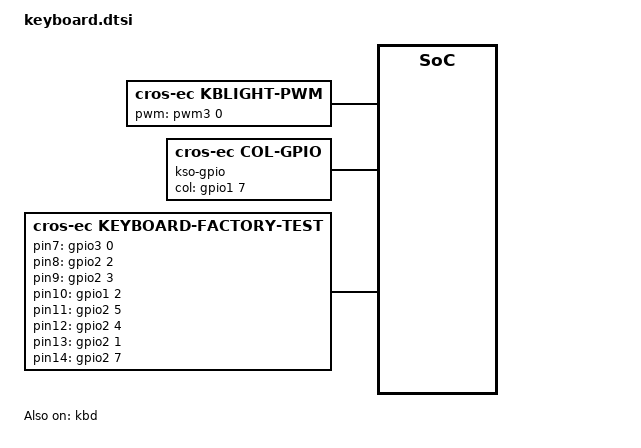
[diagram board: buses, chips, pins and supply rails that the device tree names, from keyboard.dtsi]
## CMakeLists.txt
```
# Copyright 2022 The ChromiumOS Authors
# Use of this source code is governed by a BSD-style license that can be
# found in the LICENSE file.

cmake_minimum_required(VERSION 3.20.5)
find_package(Zephyr REQUIRED HINTS "${ZEPHYR_BASE}")

zephyr_include_directories("${CMAKE_CURRENT_SOURCE_DIR}/include")
zephyr_library_sources_ifdef(CONFIG_AP_PWRSEQ "src/board_power.c")
zephyr_library_sources_ifdef(CONFIG_PLATFORM_EC_BATTERY "src/battery_present.c")
zephyr_library_sources_ifdef(CONFIG_BOARD_REX_USBC_CONFIG "src/usbc_config.c")
zephyr_library_sources_ifdef(CONFIG_PLATFORM_EC_USBC "src/usb_pd_policy.c")

if(DEFINED CONFIG_BOARD_REX)
	project(rex)
	add_subdirectory(rex)
elseif(DEFINED CONFIG_BOARD_SCREEBO)
	project(screebo)
	add_subdirectory(screebo)
elseif(DEFINED CONFIG_BOARD_KANIX)
	project(kanix)
	add_subdirectory(kanix)
elseif(DEFINED CONFIG_BOARD_KARIS)
	project(karis)
	add_subdirectory(karis)
elseif(DEFINED CONFIG_BOARD_INTEL_ISH_5_6_0)
	project(rex-ish)
	add_subdirectory(rex-ish)
endif()
```

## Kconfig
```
# Copyright 2022 The ChromiumOS Authors
# Use of this source code is governed by a BSD-style license that can be
# found in the LICENSE file.

config BOARD_REX
	bool "Google Rex Baseboard"
	select BOARD_HAS_INVALID_CHIP_DEVICE_ID_WORKAROUND
	help
	  Build Google Rex reference board.  The board uses Nuvoton
	  NPCX9 chip as the EC.

config BOARD_SCREEBO
	bool "Google Screebo Board"
	select BOARD_HAS_INVALID_CHIP_DEVICE_ID_WORKAROUND
	help
	  Build Google Screebo variant board. The board uses Nuvoton
	  NPCX9 chip as the EC.

config BOARD_KANIX
	bool "Google Kanix Board"
	select BOARD_HAS_INVALID_CHIP_DEVICE_ID_WORKAROUND
	help
	  Build Google Kanix variant board. The board uses Nuvoton
	  NPCX9 chip as the EC.

config BOARD_KARIS
	bool "Google Karis Board"
	select BOARD_HAS_INVALID_CHIP_DEVICE_ID_WORKAROUND
	help
	  Build Google Karis variant board. The board uses Nuvoton
	  NPCX9 chip as the EC.

config BOARD_HAS_INVALID_CHIP_DEVICE_ID_WORKAROUND
	bool
	help
	  Workaround the board of the Rex family which uses the sample chip
	  with the incorrect device ID.

config BOARD_REX_USBC_CONFIG
	bool "Rex board usbc configuration"
	default y
	help
	  Include baseboard rex usbc_config.c into binary. The usbc
	  usbc configuration is that TCPC C0 is NCT38XX and BC1.2
	  exists. Additionally, IOEX pins are defined.

module = REX
module-str = Rex board-specific code
source "subsys/logging/Kconfig.template.log_config"

source "Kconfig.zephyr"
```

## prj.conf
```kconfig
# Copyright 2022 The ChromiumOS Authors
# Use of this source code is governed by a BSD-style license that can be
# found in the LICENSE file.

CONFIG_PLATFORM_EC=y
CONFIG_CROS_EC=y
CONFIG_SHIMMED_TASKS=y
CONFIG_SYSCON=y
# Enable during development
CONFIG_LTO=n
CONFIG_PLATFORM_EC_SYSTEM_UNLOCKED=y
CONFIG_PLATFORM_EC_BOARD_RESET_AFTER_POWER_ON=y

# Shell Commands
CONFIG_SHELL_HELP=y
CONFIG_SHELL_HISTORY=y
CONFIG_SHELL_TAB=y
CONFIG_SHELL_TAB_AUTOCOMPLETION=y
CONFIG_KERNEL_SHELL=y

# Disable default features we don't want in a minimal example.
CONFIG_PLATFORM_EC_BACKLIGHT_LID=y
CONFIG_PLATFORM_EC_SWITCH=y
CONFIG_PLATFORM_EC_VBOOT_EFS2=y

# Application processor; communicates with EC via eSPI
CONFIG_AP=y
CONFIG_ESPI=y
CONFIG_PLATFORM_EC_HOST_INTERFACE_ESPI_VW_SLP_S3=y
CONFIG_PLATFORM_EC_HOST_INTERFACE_ESPI_VW_SLP_S4=y
CONFIG_PLATFORM_EC_HOST_INTERFACE_ESPI_VW_SLP_S5=y
CONFIG_PLATFORM_EC_HOSTCMD=y
# Disabling this until temp sensor support is in
CONFIG_PLATFORM_EC_THROTTLE_AP=n
CONFIG_PLATFORM_EC_PORT80=y

# Power Sequecing
CONFIG_AP_X86_INTEL_MTL=y
CONFIG_X86_NON_DSX_PWRSEQ_MTL=y
CONFIG_X86_NON_DSX_PWRSEQ_HOST_CMD=y
# TODO (b/240434243): This may be needed, but using eSPI VW for now
CONFIG_PLATFORM_EC_POWERSEQ_SLP_S3_L_OVERRIDE=n
CONFIG_PLATFORM_EC_POWERSEQ_PP5000_CONTROL=n

# Zephyr Inbuilt AP Power Sequencing Config
CONFIG_AP_PWRSEQ=y
CONFIG_X86_NON_DSX_PWRSEQ_CONSOLE=y
CONFIG_AP_PWRSEQ_S0IX=y

# I2C
CONFIG_PLATFORM_EC_HOSTCMD_I2C_CONTROL=y

# Temperature sensors
CONFIG_SENSOR=y
CONFIG_PLATFORM_EC_TEMP_SENSOR_POWER=y

# CBI EEPROM support
CONFIG_EEPROM=y
CONFIG_PLATFORM_EC_BOARD_VERSION_CBI=y
CONFIG_PLATFORM_EC_BYPASS_CBI_EEPROM_WP_CHECK=y

# LED
CONFIG_PLATFORM_EC_LED_DT=y

# Battery
CONFIG_PLATFORM_EC_BATTERY_SMART=y
CONFIG_PLATFORM_EC_BATTERY_FUEL_GAUGE=y
CONFIG_PLATFORM_EC_BATTERY_CUT_OFF=y
CONFIG_PLATFORM_EC_BATTERY_PRESENT_GPIO=y
CONFIG_PLATFORM_EC_BATTERY_REVIVE_DISCONNECT=y

# Charger
CONFIG_PLATFORM_EC_CHARGER_DISCHARGE_ON_AC=y
CONFIG_PLATFORM_EC_CHARGER_DEFAULT_CURRENT_LIMIT=512
CONFIG_PLATFORM_EC_CHARGER_ISL9241=y
CONFIG_PLATFORM_EC_CHARGER_SENSE_RESISTOR=5
CONFIG_PLATFORM_EC_CHARGER_SENSE_RESISTOR_AC=10
CONFIG_PLATFORM_EC_CHARGER_MIN_POWER_MW_FOR_POWER_ON=30000
CONFIG_PLATFORM_EC_CHARGER_MIN_POWER_MW_FOR_POWER_ON_WITH_BATT=15000
CONFIG_PLATFORM_EC_CHARGER_MIN_INPUT_CURRENT_LIMIT=512

# USBC
CONFIG_PLATFORM_EC_USBC_PPC=y
CONFIG_PLATFORM_EC_USBC_PPC_NX20P3483=y
CONFIG_PLATFORM_EC_USBC_PPC_SYV682X=y
CONFIG_PLATFORM_EC_USBC_PPC_SYV682C=y
CONFIG_PLATFORM_EC_USBC_PPC_SYV682X_SMART_DISCHARGE=y
CONFIG_PLATFORM_EC_USBC_RETIMER_INTEL_HB=y
CONFIG_PLATFORM_EC_USBC_VCONN=y

CONFIG_PLATFORM_EC_USB_DRP_ACC_TRYSRC=y
CONFIG_PLATFORM_EC_USB_PD_VBUS_DETECT_TCPC=y
CONFIG_PLATFORM_EC_USB_PD_DISCHARGE_PPC=y
CONFIG_PLATFORM_EC_USB_PD_FRS=y
CONFIG_PLATFORM_EC_USB_PD_FRS_PPC=y
CONFIG_PLATFORM_EC_USB_PD_REV30=y
CONFIG_PLATFORM_EC_USB_PD_TCPC_LOW_POWER=y
CONFIG_PLATFORM_EC_USB_PD_TCPM_TCPCI=y
CONFIG_PLATFORM_EC_USB_PD_TCPM_NCT38XX=y
CONFIG_PLATFORM_EC_USB_PD_TCPM_PS8815=y
CONFIG_PLATFORM_EC_USB_PD_TRY_SRC=y
CONFIG_PLATFORM_EC_USB_PD_DUAL_ROLE_AUTO_TOGGLE=y
CONFIG_PLATFORM_EC_USB_PD_TBT_COMPAT_MODE=y
CONFIG_PLATFORM_EC_USB_PD_USB32_DRD=y
CONFIG_PLATFORM_EC_USB_PD_USB4=y
CONFIG_PLATFORM_EC_USB_PD_VBUS_MEASURE_CHARGER=y
CONFIG_PLATFORM_EC_USB_PID=0x504D

#USB Mux
CONFIG_PLATFORM_EC_USB_MUX_VIRTUAL=y
CONFIG_PLATFORM_EC_USB_MUX_TASK=y

# External power
CONFIG_PLATFORM_EC_EXTPOWER_GPIO=y

# Standard shimmed features
CONFIG_PLATFORM_EC_POWER_BUTTON=y
CONFIG_PLATFORM_EC_LID_SWITCH=y

# Keyboard support
CONFIG_PLATFORM_EC_KEYBOARD_PROTOCOL_8042=y
# Column 2 is driven through the GSC, which inverts the signal going through it
CONFIG_PLATFORM_EC_KEYBOARD_COL2_INVERTED=y

# MKBP event
CONFIG_PLATFORM_EC_MKBP_EVENT=y
CONFIG_PLATFORM_EC_MKBP_INPUT_DEVICES=y
CONFIG_PLATFORM_EC_MKBP_USE_GPIO_AND_HOST_EVENT=y

# Sensors console command
CONFIG_PLATFORM_EC_CONSOLE_CMD_ACCELS=y
CONFIG_PLATFORM_EC_CONSOLE_CMD_ACCEL_INFO=y
CONFIG_PLATFORM_EC_CONSOLE_CMD_I2C_SPEED=y

# Sensors
CONFIG_SENSOR=y
CONFIG_SENSOR_SHELL=n
CONFIG_PLATFORM_EC_MOTIONSENSE=y
CONFIG_PLATFORM_EC_ACCEL_FIFO=y
CONFIG_PLATFORM_EC_DYNAMIC_MOTION_SENSOR_COUNT=y
CONFIG_PLATFORM_EC_GMR_TABLET_MODE=y
CONFIG_PLATFORM_EC_LID_ANGLE=y
CONFIG_PLATFORM_EC_LID_ANGLE_UPDATE=y
CONFIG_PLATFORM_EC_SENSOR_TIGHT_TIMESTAMPS=y
CONFIG_PLATFORM_EC_TABLET_MODE=y
CONFIG_PLATFORM_EC_TABLET_MODE_SWITCH=y

# Sensor Drivers
CONFIG_PLATFORM_EC_ACCELGYRO_LSM6DSO=y
CONFIG_PLATFORM_EC_ACCEL_LIS2DW12=y
CONFIG_PLATFORM_EC_ALS_TCS3400=y
```

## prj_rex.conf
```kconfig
# Copyright 2022 The ChromiumOS Authors
# Use of this source code is governed by a BSD-style license that can be
# found in the LICENSE file.

# Rex reference-board-specific Kconfig settings.
CONFIG_BOARD_REX=y
```

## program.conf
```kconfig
# Copyright 2022 The ChromiumOS Authors
# Use of this source code is governed by a BSD-style license that can be
# found in the LICENSE file.

CONFIG_PLATFORM_EC=y
CONFIG_CROS_EC=y
CONFIG_SYSCON=y

# Shell Commands
CONFIG_SHELL_HELP=n
CONFIG_SHELL_HISTORY=y
CONFIG_SHELL_TAB=y
CONFIG_SHELL_TAB_AUTOCOMPLETION=y
CONFIG_KERNEL_SHELL=y

# Disable default features we don't want in a minimal example.
CONFIG_PLATFORM_EC_BACKLIGHT_LID=y
CONFIG_PLATFORM_EC_SWITCH=y
CONFIG_PLATFORM_EC_VBOOT_EFS2=y

# Application processor; communicates with EC via eSPI
CONFIG_AP=y
CONFIG_ESPI=y
CONFIG_PLATFORM_EC_HOST_INTERFACE_ESPI_VW_SLP_S4=y
CONFIG_PLATFORM_EC_HOST_INTERFACE_ESPI_VW_SLP_S5=y
CONFIG_PLATFORM_EC_HOSTCMD=y
CONFIG_HCDEBUG_OFF=y
# Disabling this until temp sensor support is in
CONFIG_PLATFORM_EC_THROTTLE_AP=n
CONFIG_PLATFORM_EC_PORT80=y

# Power Sequecing
CONFIG_AP_X86_INTEL_MTL=y
CONFIG_X86_NON_DSX_PWRSEQ_MTL=y
CONFIG_X86_NON_DSX_PWRSEQ_HOST_CMD=y
# TODO (b/240434243): This may be needed, but using eSPI VW for now
CONFIG_PLATFORM_EC_POWERSEQ_SLP_S3_L_OVERRIDE=n
CONFIG_PLATFORM_EC_POWERSEQ_PP5000_CONTROL=n

# Zephyr Inbuilt AP Power Sequencing Config
CONFIG_X86_NON_DSX_PWRSEQ_CONSOLE=y
CONFIG_AP_PWRSEQ_S0IX=y

# Disable driver mode because Rex was brought up without it and changing
# would be risky.
CONFIG_AP_PWRSEQ_DRIVER=n

# I2C
CONFIG_PLATFORM_EC_HOSTCMD_I2C_CONTROL=y

# Temperature sensors
CONFIG_PLATFORM_EC_TEMP_SENSOR_POWER=y

# Battery
CONFIG_PLATFORM_EC_BATTERY_FUEL_GAUGE=y
CONFIG_PLATFORM_EC_BATTERY_CUT_OFF=y
CONFIG_PLATFORM_EC_BATTERY_REVIVE_DISCONNECT=y
CONFIG_PLATFORM_EC_BATTERY_PRESENT_CUSTOM=y
CONFIG_PLATFORM_EC_BATTERY_HW_PRESENT_CUSTOM=y

# Charger
CONFIG_PLATFORM_EC_CHARGER_DISCHARGE_ON_AC=y
CONFIG_PLATFORM_EC_CHARGER_DEFAULT_CURRENT_LIMIT=512
CONFIG_PLATFORM_EC_CHARGER_ISL9241=y
CONFIG_PLATFORM_EC_CHARGER_SENSE_RESISTOR=5
CONFIG_PLATFORM_EC_CHARGER_SENSE_RESISTOR_AC=10
CONFIG_PLATFORM_EC_CHARGER_MIN_POWER_MW_FOR_POWER_ON=30000
CONFIG_PLATFORM_EC_CHARGER_MIN_POWER_MW_FOR_POWER_ON_WITH_BATT=15000

# USBC
CONFIG_PLATFORM_EC_USBC_PPC=y
CONFIG_PLATFORM_EC_USBC_PPC_SYV682C=y
CONFIG_PLATFORM_EC_USBC_VCONN=y

CONFIG_PLATFORM_EC_USB_DRP_ACC_TRYSRC=y
CONFIG_PLATFORM_EC_USB_PD_VBUS_DETECT_TCPC=y
CONFIG_PLATFORM_EC_USB_PD_DISCHARGE_PPC=y
CONFIG_PLATFORM_EC_USB_PD_FRS=y
CONFIG_PLATFORM_EC_USB_PD_FRS_PPC=y
CONFIG_PLATFORM_EC_USB_PD_LOGGING=y
CONFIG_PLATFORM_EC_USB_PD_REV30=y
CONFIG_PLATFORM_EC_USB_PD_TCPC_LOW_POWER=y
CONFIG_PLATFORM_EC_USB_PD_TCPM_PS8815=y
CONFIG_PLATFORM_EC_USB_PD_TRY_SRC=y
CONFIG_PLATFORM_EC_USB_PD_DUAL_ROLE_AUTO_TOGGLE=y
CONFIG_PLATFORM_EC_USB_PD_TBT_COMPAT_MODE=y
CONFIG_PLATFORM_EC_USB_PD_USB32_DRD=y
CONFIG_PLATFORM_EC_USB_PD_USB4=y
CONFIG_PLATFORM_EC_USB_PD_REQUIRE_AP_MODE_ENTRY=y
CONFIG_PLATFORM_EC_USB_PD_DATA_RESET_MSG=y
CONFIG_PLATFORM_EC_USB_PD_VBUS_MEASURE_CHARGER=y
CONFIG_PLATFORM_EC_USB_PID=0x504D

# USBC DP2.1
CONFIG_PLATFORM_EC_USB_PD_DP21_MODE=y

# USB Mux
CONFIG_PLATFORM_EC_USB_MUX_TASK=y

# External power
CONFIG_PLATFORM_EC_EXTPOWER_GPIO=y

# Standard shimmed features
CONFIG_PLATFORM_EC_POWER_BUTTON=y
CONFIG_PLATFORM_EC_LID_SWITCH=y

# Keyboard support
CONFIG_PLATFORM_EC_KEYBOARD_PROTOCOL_8042=y
# Column 2 is driven through the GSC, which inverts the signal going through it
CONFIG_PLATFORM_EC_KEYBOARD_COL2_INVERTED=y
CONFIG_PLATFORM_EC_VOLUME_BUTTONS=y

# MKBP event
CONFIG_PLATFORM_EC_MKBP_EVENT=y
CONFIG_PLATFORM_EC_MKBP_INPUT_DEVICES=y
CONFIG_PLATFORM_EC_MKBP_USE_GPIO_AND_HOST_EVENT=y

# Sensors console command
CONFIG_PLATFORM_EC_CONSOLE_CMD_ACCELS=y
CONFIG_PLATFORM_EC_CONSOLE_CMD_ACCEL_INFO=y
CONFIG_PLATFORM_EC_CONSOLE_CMD_I2C_SPEED=y

# Sensors
CONFIG_PLATFORM_EC_ACCEL_FIFO=y
CONFIG_PLATFORM_EC_DYNAMIC_MOTION_SENSOR_COUNT=y
CONFIG_PLATFORM_EC_GMR_TABLET_MODE=y
CONFIG_PLATFORM_EC_LID_ANGLE=y
CONFIG_PLATFORM_EC_LID_ANGLE_UPDATE=y
CONFIG_PLATFORM_EC_SENSOR_TIGHT_TIMESTAMPS=y
CONFIG_PLATFORM_EC_TABLET_MODE=y
CONFIG_PLATFORM_EC_TABLET_MODE_SWITCH=y

# Sensor Drivers
CONFIG_PLATFORM_EC_ACCEL_LIS2DW12=y

# System Boot Time
CONFIG_SYSTEM_BOOT_TIME_LOGGING=y

# Limit I2C pass-through to allowed busses/devices
CONFIG_PLATFORM_EC_I2C_PASSTHRU_RESTRICTED=y

# CME
CONFIG_PLATFORM_EC_CME_VERSION=1
```

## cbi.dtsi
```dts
/* Copyright 2022 The ChromiumOS Authors
 * Use of this source code is governed by a BSD-style license that can be
 * found in the LICENSE file.
 */

/ {
	rex-fw-config {
		compatible = "cros-ec,cbi-fw-config";

		/*
		 * FW_CONFIG field to enable fan or not.
		 */
		fan {
			enum-name = "FW_FAN";
			start = <0>;
			size = <1>;

			no-fan {
				compatible = "cros-ec,cbi-fw-config-value";
				enum-name = "FW_FAN_NOT_PRESENT";
				value = <0>;
			};
			fan-present {
				compatible = "cros-ec,cbi-fw-config-value";
				enum-name = "FW_FAN_PRESENT";
				value = <1>;
				/*
				 * Set as default so that unprovisioned
				 * configs will run the fan regardless.
				 */
				default;
			};
		};
	};
};
```

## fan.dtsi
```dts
/* Copyright 2022 The ChromiumOS Authors
 * Use of this source code is governed by a BSD-style license that can be
 * found in the LICENSE file.
 */

/ {
	fans {
		compatible = "cros-ec,fans";

		fan0: fan_0 {
			pwms = <&pwm5 0 PWM_KHZ(1) PWM_POLARITY_NORMAL>;
			rpm_min = <2200>;
			rpm_start = <2200>;
			rpm_max = <4200>;
			tach = <&tach1>;
			enable_gpio = <&gpio_en_pp5000_fan>;
		};
	};
};

&pwm5_gpb7 {
	drive-open-drain;
};
```

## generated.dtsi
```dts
/* Copyright 2024 The ChromiumOS Authors
 * Use of this source code is governed by a BSD-style license that can be
 * found in the LICENSE file.
 *
 * This file is auto-generated - do not edit!
 */

/ {

	named-adc-channels {
		compatible = "named-adc-channels";

		adc_temp_sensor_1: temp_sensor_1 {
			enum-name = "ADC_TEMP_SENSOR_1_DDR_SOC";
			io-channels = <&adc0 0>;
		};
		adc_temp_sensor_2: temp_sensor_2 {
			enum-name = "ADC_TEMP_SENSOR_2_AMBIENT";
			io-channels = <&adc0 1>;
		};
		adc_temp_sensor_3: temp_sensor_3 {
			enum-name = "ADC_TEMP_SENSOR_3_CHARGER";
			io-channels = <&adc0 8>;
		};
		adc_temp_sensor_4: temp_sensor_4 {
			enum-name = "ADC_TEMP_SENSOR_4_WWAN";
			io-channels = <&adc0 7>;
		};
	};

	named-gpios {
		compatible = "named-gpios";

		gpio_acok_od: acok_od {
			gpios = <&gpio0 0 (GPIO_INPUT)>;
			enum-name = "GPIO_AC_PRESENT";
		};
		gpio_ccd_mode_odl: ccd_mode_odl {
			gpios = <&gpioe 5 (GPIO_INPUT)>;
			enum-name = "GPIO_CCD_MODE_ODL";
		};
		gpio_cpu_c10_gate_l: cpu_c10_gate_l {
			gpios = <&gpioa 7 (GPIO_INPUT)>;
		};
		gpio_ec_accel_int_r_l: ec_accel_int_r_l {
			gpios = <&gpio8 1 (GPIO_INPUT)>;
		};
		gpio_ec_als_rgb_int_r_l: ec_als_rgb_int_r_l {
			gpios = <&gpiod 4 (GPIO_INPUT | GPIO_PULL_UP)>;
		};
		gpio_ec_batt_pres_odl: ec_batt_pres_odl {
			gpios = <&gpioa 3 (GPIO_INPUT)>;
			enum-name = "GPIO_BATT_PRES_ODL";
		};
		gpio_ec_cbi_wp: ec_cbi_wp {
			gpios = <&gpio7 3 (GPIO_OUTPUT | GPIO_ACTIVE_HIGH)>;
		};
		gpio_ec_edp_bl_en: ec_edp_bl_en {
			gpios = <&gpiod 3 (GPIO_OUTPUT | GPIO_ACTIVE_HIGH)>;
			enum-name = "GPIO_ENABLE_BACKLIGHT";
		};
		gpio_ec_gsc_packet_mode: ec_gsc_packet_mode {
			gpios = <&gpio7 5 (GPIO_OUTPUT | GPIO_ACTIVE_HIGH)>;
			enum-name = "GPIO_PACKET_MODE_EN";
		};
		gpio_ec_imu_int_r_l: ec_imu_int_r_l {
			gpios = <&gpio5 6 (GPIO_INPUT | GPIO_PULL_UP)>;
		};
		gpio_ec_kb_bl_en_l: ec_kb_bl_en_l {
			gpios = <&gpio8 6 (GPIO_OUTPUT | GPIO_ACTIVE_HIGH)>;
		};
		gpio_ec_kso_02_inv: ec_kso_02_inv {
			gpios = <&gpio1 7 (GPIO_OUTPUT | GPIO_ACTIVE_HIGH)>;
		};
		gpio_ec_mech_pwr_btn_l: ec_mech_pwr_btn_l {
			gpios = <&gpio0 2 (GPIO_INPUT)>;
			enum-name = "GPIO_POWER_BUTTON_L";
		};
		gpio_ec_prochot_in_l: ec_prochot_in_l {
			gpios = <&gpiof 0 (GPIO_INPUT)>;
		};
		gpio_ec_prochot_odl: ec_prochot_odl {
			gpios = <&gpio6 3 (GPIO_OUTPUT | GPIO_OPEN_DRAIN | GPIO_ACTIVE_HIGH | GPIO_OUTPUT_INIT_HIGH)>;
		};
		gpio_ec_rst_r_odl: ec_rst_r_odl {
			gpios = <&gpio7 7 (GPIO_INPUT)>;
		};
		gpio_ec_soc_int_odl: ec_soc_int_odl {
			gpios = <&gpio7 0 (GPIO_OUTPUT | GPIO_OPEN_DRAIN | GPIO_ACTIVE_HIGH | GPIO_OUTPUT_INIT_LOW)>;
			enum-name = "GPIO_EC_INT_L";
		};
		gpio_ec_soc_pwr_btn_odl: ec_soc_pwr_btn_odl {
			gpios = <&gpioc 1 (GPIO_OUTPUT | GPIO_OPEN_DRAIN | GPIO_ACTIVE_HIGH | GPIO_OUTPUT_INIT_LOW)>;
			enum-name = "GPIO_PCH_PWRBTN_L";
		};
		gpio_ec_soc_rec_switch_r_odl: ec_soc_rec_switch_r_odl {
			gpios = <&gpio9 4 (GPIO_OUTPUT | GPIO_OPEN_DRAIN | GPIO_ACTIVE_LOW | GPIO_OUTPUT_INIT_HIGH)>;
		};
		gpio_ec_soc_rsmrst_l_r: ec_soc_rsmrst_l_r {
			gpios = <&gpioa 6 (GPIO_OUTPUT | GPIO_ACTIVE_HIGH)>;
		};
		gpio_ec_soc_rtcrst: ec_soc_rtcrst {
			gpios = <&gpio7 6 (GPIO_OUTPUT | GPIO_OPEN_DRAIN | GPIO_ACTIVE_HIGH | GPIO_OUTPUT_INIT_HIGH)>;
		};
		gpio_ec_soc_wake_r_odl: ec_soc_wake_r_odl {
			gpios = <&gpioc 0 (GPIO_OUTPUT | GPIO_OPEN_DRAIN | GPIO_ACTIVE_HIGH | GPIO_OUTPUT_INIT_LOW)>;
		};
		gpio_ec_spare_gpio01: ec_spare_gpio01 {
			gpios = <&gpio0 1 (GPIO_INPUT | GPIO_PULL_UP)>;
		};
		gpio_ec_spare_gpio42: ec_spare_gpio42 {
			gpios = <&gpio4 2 (GPIO_OUTPUT | GPIO_ACTIVE_HIGH)>;
		};
		gpio_ec_spare_gpio66: ec_spare_gpio66 {
			gpios = <&gpio6 6 (GPIO_OUTPUT | GPIO_ACTIVE_HIGH)>;
		};
		gpio_ec_spare_gpioa4: ec_spare_gpioa4 {
			gpios = <&gpioa 4 (GPIO_OUTPUT | GPIO_ACTIVE_HIGH)>;
		};
		gpio_ec_spare_gpiob1: ec_spare_gpiob1 {
			gpios = <&gpiob 1 (GPIO_OUTPUT | GPIO_ACTIVE_HIGH)>;
		};
		gpio_ec_spare_gpioc7: ec_spare_gpioc7 {
			gpios = <&gpioc 7 (GPIO_OUTPUT | GPIO_ACTIVE_HIGH)>;
		};
		gpio_ec_spare_gpo32: ec_spare_gpo32 {
			gpios = <&gpio3 2 (GPIO_OUTPUT | GPIO_ACTIVE_HIGH)>;
		};
		gpio_ec_spare_gpo35: ec_spare_gpo35 {
			gpios = <&gpio3 5 (GPIO_OUTPUT | GPIO_ACTIVE_HIGH)>;
		};
		gpio_ec_voldn_btn_odl: ec_voldn_btn_odl {
			gpios = <&gpio9 3 (GPIO_INPUT | GPIO_PULL_UP)>;
			enum-name = "GPIO_VOLUME_DOWN_L";
		};
		gpio_ec_volup_btn_odl: ec_volup_btn_odl {
			gpios = <&gpio9 7 (GPIO_INPUT | GPIO_PULL_UP)>;
			enum-name = "GPIO_VOLUME_UP_L";
		};
		gpio_ec_wp_l: ec_wp_l {
			gpios = <&gpioa 1 (GPIO_INPUT | GPIO_ACTIVE_LOW)>;
		};
		gpio_en_pp5000_fan: en_pp5000_fan {
			gpios = <&gpio6 1 (GPIO_OUTPUT | GPIO_ACTIVE_HIGH)>;
		};
		gpio_en_pp5000_usba_r: en_pp5000_usba_r {
			gpios = <&gpiod 7 (GPIO_OUTPUT | GPIO_ACTIVE_HIGH)>;
		};
		gpio_en_s5_rails: en_s5_rails {
			gpios = <&gpiob 6 (GPIO_OUTPUT | GPIO_OPEN_DRAIN | GPIO_ACTIVE_HIGH | GPIO_OUTPUT_INIT_HIGH)>;
			enum-name = "GPIO_TEMP_SENSOR_POWER";
		};
		gpio_en_z1_rails: en_z1_rails {
			gpios = <&gpio8 5 (GPIO_OUTPUT | GPIO_ACTIVE_HIGH)>;
		};
		gpio_imvp92_vrrdy_od: imvp92_vrrdy_od {
			gpios = <&gpio4 3 (GPIO_INPUT)>;
		};
		gpio_led_1_l: led_1_l {
			gpios = <&gpioc 4 (GPIO_OUTPUT | GPIO_ACTIVE_HIGH)>;
		};
		gpio_led_2_l: led_2_l {
			gpios = <&gpioc 3 (GPIO_OUTPUT | GPIO_ACTIVE_HIGH)>;
		};
		gpio_led_3_l: led_3_l {
			gpios = <&gpioc 2 (GPIO_OUTPUT | GPIO_ACTIVE_HIGH)>;
		};
		gpio_led_4_l: led_4_l {
			gpios = <&gpio6 0 (GPIO_OUTPUT | GPIO_ACTIVE_HIGH)>;
		};
		gpio_lid_open: lid_open {
			gpios = <&gpiod 2 (GPIO_INPUT)>;
			enum-name = "GPIO_LID_OPEN";
		};
		gpio_seq_ec_all_sys_pg_od: seq_ec_all_sys_pg_od {
			gpios = <&gpiof 4 (GPIO_INPUT)>;
		};
		gpio_seq_ec_rsmrst_odl: seq_ec_rsmrst_odl {
			gpios = <&gpioe 2 (GPIO_INPUT)>;
		};
		gpio_slp_s3_ls_l: slp_s3_ls_l {
			gpios = <&gpio4 1 (GPIO_INPUT)>;
		};
		gpio_sochot_odl: sochot_odl {
			gpios = <&gpio9 6 (GPIO_INPUT)>;
		};
		gpio_soc_ec_ish_nb_mode: soc_ec_ish_nb_mode {
			gpios = <&gpioa 2 (GPIO_INPUT | GPIO_ACTIVE_LOW)>;
		};
		gpio_soc_pwrok_r: soc_pwrok_r {
			gpios = <&gpioa 5 (GPIO_OUTPUT | GPIO_ACTIVE_HIGH)>;
		};
		gpio_sys_pwrok: sys_pwrok {
			gpios = <&gpiob 0 (GPIO_OUTPUT | GPIO_ACTIVE_HIGH)>;
		};
		gpio_sys_rst_odl: sys_rst_odl {
			gpios = <&gpioc 5 (GPIO_INPUT)>;
		};
		gpio_sys_slp_s0ix_3v3_l: sys_slp_s0ix_3v3_l {
			gpios = <&gpiod 5 (GPIO_INPUT)>;
		};
		gpio_tablet_mode_l: tablet_mode_l {
			gpios = <&gpio9 5 (GPIO_INPUT | GPIO_PULL_UP)>;
			enum-name = "GPIO_TABLET_MODE_L";
		};
		gpio_usb_c0_bc12_int_odl: usb_c0_bc12_int_odl {
			gpios = <&gpioc 6 (GPIO_INPUT)>;
			enum-name = "GPIO_USB_C0_BC12_INT_ODL";
		};
		gpio_usb_c0_ppc_int_odl: usb_c0_ppc_int_odl {
			gpios = <&gpio6 2 (GPIO_INPUT)>;
			enum-name = "GPIO_USB_C0_PPC_INT_ODL";
		};
		gpio_usb_c0_rt_3p3_sx_en: usb_c0_rt_3p3_sx_en {
			gpios = <&gpio0 3 (GPIO_OUTPUT | GPIO_OPEN_DRAIN | GPIO_ACTIVE_HIGH | GPIO_OUTPUT_INIT_LOW)>;
		};
		gpio_usb_c0_rt_int_odl: usb_c0_rt_int_odl {
			gpios = <&gpioa 0 (GPIO_INPUT)>;
		};
		gpio_usb_c0_tcpc_int_odl: usb_c0_tcpc_int_odl {
			gpios = <&gpioe 0 (GPIO_INPUT | GPIO_ACTIVE_LOW)>;
			enum-name = "GPIO_USB_C0_TCPC_INT_ODL";
		};
		gpio_usb_c0_tcpc_rst_odl: usb_c0_tcpc_rst_odl {
			gpios = <&gpio6 7 (GPIO_OUTPUT | GPIO_OPEN_DRAIN | GPIO_ACTIVE_HIGH | GPIO_OUTPUT_INIT_HIGH)>;
		};
		gpio_usb_c1_bc12_int_odl: usb_c1_bc12_int_odl {
			gpios = <&gpio5 0 (GPIO_INPUT)>;
			enum-name = "GPIO_USB_C1_BC12_INT_ODL";
		};
		gpio_usb_c1_frs_en: usb_c1_frs_en {
			gpios = <&gpio8 3 (GPIO_OUTPUT | GPIO_OPEN_DRAIN | GPIO_ACTIVE_HIGH | GPIO_OUTPUT_INIT_HIGH)>;
		};
		gpio_usb_c1_ppc_int_odl: usb_c1_ppc_int_odl {
			gpios = <&gpiof 5 (GPIO_INPUT)>;
			enum-name = "GPIO_USB_C1_PPC_INT_ODL";
		};
		gpio_usb_c1_rst_odl: usb_c1_rst_odl {
			gpios = <&gpio3 7 (GPIO_OUTPUT | GPIO_OPEN_DRAIN | GPIO_ACTIVE_HIGH | GPIO_OUTPUT_INIT_LOW)>;
		};
		gpio_usb_c1_rt_int_odl: usb_c1_rt_int_odl {
			gpios = <&gpio7 2 (GPIO_INPUT | GPIO_PULL_UP)>;
		};
		gpio_usb_c1_rt_rst_r_odl: usb_c1_rt_rst_r_odl {
			gpios = <&gpio7 4 (GPIO_OUTPUT | GPIO_OPEN_DRAIN | GPIO_ACTIVE_HIGH | GPIO_OUTPUT_INIT_HIGH)>;
		};
		gpio_usb_c1_tcpc_int_odl: usb_c1_tcpc_int_odl {
			gpios = <&gpio3 4 (GPIO_INPUT | GPIO_ACTIVE_LOW)>;
			enum-name = "GPIO_USB_C1_TCPC_INT_ODL";
		};
	};

	named-i2c-ports {
		compatible = "named-i2c-ports";

		i2c_ec_i2c_sensor_scl_r: ec_i2c_sensor_scl_r {
			i2c-port = <&i2c0_0>;
			enum-names = "I2C_PORT_SENSOR";
		};
		i2c_ec_i2c_usb_c0_tcp: ec_i2c_usb_c0_tcp {
			i2c-port = <&i2c1_0>;
			enum-names = "I2C_PORT_USB_C0_TCPC";
		};
		i2c_ec_i2c_usb_c0_ppc_b: ec_i2c_usb_c0_ppc_b {
			i2c-port = <&i2c2_0>;
			enum-names = "I2C_PORT_PPC0";
		};
		i2c_ec_i2c_usb_c0_rt: ec_i2c_usb_c0_rt {
			i2c-port = <&i2c3_0>;
			enum-names = "I2C_PORT_USB_C0_RT";
		};
		i2c_ec_i2c_usb_c1_tcp: ec_i2c_usb_c1_tcp {
			i2c-port = <&i2c4_1>;
			enum-names = "I2C_PORT_USB_C1_TCPC";
		};
		i2c_ec_i2c_bat: ec_i2c_bat {
			i2c-port = <&i2c5_0>;
			enum-names = "I2C_PORT_BATTERY";
		};
		i2c_ec_i2c_usb_c1_mix: ec_i2c_usb_c1_mix {
			i2c-port = <&i2c6_1>;
			enum-names = "I2C_PORT_USB_1_MIX";
		};
		i2c_ec_i2c_mi: ec_i2c_mi {
			i2c-port = <&i2c7_0>;
			enum-names = "I2C_PORT_EEPROM";
		};
	};
};

&adc0 {
	status = "okay";
	pinctrl-0 = <&adc0_chan0_gp45
		&adc0_chan1_gp44
		&adc0_chan8_gpf1
		&adc0_chan7_gpe1>;
	pinctrl-names = "default";
};

&i2c0_0 {
	status = "okay";
	pinctrl-0 = <&i2c0_0_sda_scl_gpb4_b5>;
	pinctrl-names = "default";
};

&i2c1_0 {
	status = "okay";
	pinctrl-0 = <&i2c1_0_sda_scl_gp87_90>;
	pinctrl-names = "default";
};

&i2c2_0 {
	status = "okay";
	pinctrl-0 = <&i2c2_0_sda_scl_gp91_92>;
	pinctrl-names = "default";
};

&i2c3_0 {
	status = "okay";
	pinctrl-0 = <&i2c3_0_sda_scl_gpd0_d1>;
	pinctrl-names = "default";
};

&i2c4_1 {
	status = "okay";
	pinctrl-0 = <&i2c4_1_sda_scl_gpf2_f3>;
	pinctrl-names = "default";
};

&i2c5_0 {
	status = "okay";
	pinctrl-0 = <&i2c5_0_sda_scl_gp36_33>;
	pinctrl-names = "default";
};

&i2c6_1 {
	status = "okay";
	pinctrl-0 = <&i2c6_1_sda_scl_gpe3_e4>;
	pinctrl-names = "default";
};

&i2c7_0 {
	status = "okay";
	pinctrl-0 = <&i2c7_0_sda_scl_gpb2_b3>;
	pinctrl-names = "default";
};

&i2c_ctrl0 {
	status = "okay";
};

&i2c_ctrl1 {
	status = "okay";
};

&i2c_ctrl2 {
	status = "okay";
};

&i2c_ctrl3 {
	status = "okay";
};

&i2c_ctrl4 {
	status = "okay";
};

&i2c_ctrl5 {
	status = "okay";
};

&i2c_ctrl6 {
	status = "okay";
};

&i2c_ctrl7 {
	status = "okay";
};

&pwm3 {
	status = "okay";
	pinctrl-0 = <&pwm3_gp80>;
	pinctrl-names = "default";
};

&pwm5 {
	status = "okay";
	pinctrl-0 = <&pwm5_gpb7>;
	pinctrl-names = "default";
};

&tach1 {
	status = "okay";
	pinctrl-0 = <&ta1_1_in_gp40>;
	pinctrl-names = "default";
	port = <NPCX_TACH_PORT_A>;
	sample-clk = <NPCX_TACH_FREQ_LFCLK>;
	pulses-per-round = <2>;
};

&cros_kb_raw {
	status = "okay";
	/* No KSO2 (it's inverted and implemented by GPIO) */
	pinctrl-0 = <
		&ksi0_gp31
		&ksi1_gp30
		&ksi2_gp27
		&ksi3_gp26
		&ksi4_gp25
		&ksi5_gp24
		&ksi6_gp23
		&ksi7_gp22
		&kso00_gp21
		&kso01_gp20
		&kso03_gp16
		&kso04_gp15
		&kso05_gp14
		&kso06_gp13
		&kso07_gp12
		&kso08_gp11
		&kso09_gp10
		&kso10_gp07
		&kso11_gp06
		&kso12_gp05
		&kso13_gp04
		&kso14_gp82
	>;
	pinctrl-names = "default";
};
```

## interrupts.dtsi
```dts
/* Copyright 2022 The ChromiumOS Authors
 * Use of this source code is governed by a BSD-style license that can be
 * found in the LICENSE file.
 */

/ {
	gpio-interrupts {
		compatible = "cros-ec,gpio-interrupts";

		int_ac_present: ac_present {
			irq-pin = <&gpio_acok_od>;
			flags = <GPIO_INT_EDGE_BOTH>;
			handler = "extpower_interrupt";
		};
		int_power_button: power_button {
			irq-pin = <&gpio_ec_mech_pwr_btn_l>;
			flags = <GPIO_INT_EDGE_BOTH>;
			handler = "power_button_interrupt";
		};
		int_lid_open: lid_open {
			irq-pin = <&gpio_lid_open>;
			flags = <GPIO_INT_EDGE_BOTH>;
			handler = "lid_interrupt";
		};
		int_usb_c0_sbu_fault: c0_sbu_fault {
			irq-pin = <&ioex_usb_c0_sbu_fault_odl>;
			flags = <GPIO_INT_EDGE_FALLING>;
			handler = "sbu_fault_interrupt";
		};
		int_usb_c0_bc12: usb_c0_bc12 {
			irq-pin = <&gpio_usb_c0_bc12_int_odl>;
			flags = <GPIO_INT_EDGE_FALLING>;
			handler = "bc12_interrupt";
		};
		int_usb_c1_bc12: usb_c1_bc12 {
			irq-pin = <&gpio_usb_c1_bc12_int_odl>;
			flags = <GPIO_INT_EDGE_FALLING>;
			handler = "bc12_interrupt";
		};
		int_imu: ec_imu {
			irq-pin = <&gpio_ec_imu_int_r_l>;
			flags = <GPIO_INT_EDGE_FALLING>;
			handler = "lsm6dso_interrupt";
		};
		int_als_rgb: ec_als_rgb {
			irq-pin = <&gpio_ec_als_rgb_int_r_l>;
			flags = <GPIO_INT_EDGE_FALLING>;
			handler = "tcs3400_interrupt";
		};
		int_accel: ec_accel {
			irq-pin = <&gpio_ec_accel_int_r_l>;
			flags = <GPIO_INT_EDGE_FALLING>;
			handler = "lis2dw12_interrupt";
		};
		int_volume_up: volume_up {
			irq-pin = <&gpio_ec_volup_btn_odl>;
			flags = <GPIO_INT_EDGE_BOTH>;
			handler = "button_interrupt";
		};
		int_volume_down: volume_down {
			irq-pin = <&gpio_ec_voldn_btn_odl>;
			flags = <GPIO_INT_EDGE_BOTH>;
			handler = "button_interrupt";
		};
		int_tablet_mode: tablet_mode {
			irq-pin = <&gpio_tablet_mode_l>;
			flags = <GPIO_INT_EDGE_BOTH>;
			handler = "gmr_tablet_switch_isr";
		};
	};
};

/* Required node label that doesn't is named differently on Rex */
gpio_ec_pch_wake_odl: &gpio_ec_soc_wake_r_odl {};
```

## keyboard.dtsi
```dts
/* Copyright 2022 The ChromiumOS Authors
 * Use of this source code is governed by a BSD-style license that can be
 * found in the LICENSE file.
 */

/ {
	chosen {
		cros-ec,keyboard = &kbd;
	};

	kblight: kblight {
		compatible = "cros-ec,kblight-pwm";
		pwms = <&pwm3 0 PWM_HZ(2400) PWM_POLARITY_NORMAL>;
	};
};

&kbd {
	/* Experimental: only used for testing with the upstream keyboard
	 * driver.
	 */
	status = "okay";
	pinctrl-0 = <
		&ksi0_gp31 /* KSI0 PIN31 */
		&ksi1_gp30 /* KSI1 PIN30 */
		&ksi2_gp27 /* KSI2 PIN27 */
		&ksi3_gp26 /* KSI3 PIN26 */
		&ksi4_gp25 /* KSI4 PIN25 */
		&ksi5_gp24 /* KSI5 PIN24 */
		&ksi6_gp23 /* KSI6 PIN23 */
		&ksi7_gp22 /* KSI7 PIN22 */
		&kso00_gp21 /* KSO00 PIN21 */
		&kso01_gp20 /* KSO01 PIN20 */
		&kso03_gp16 /* KSO03 PIN16 */
		&kso04_gp15 /* KSO04 PIN15 */
		&kso05_gp14 /* KSO05 PIN14 */
		&kso06_gp13 /* KSO06 PIN13 */
		&kso07_gp12 /* KSO07 PIN12 */
		&kso08_gp11 /* KSO08 PIN11 */
		&kso09_gp10 /* KSO09 PIN10 */
		&kso10_gp07 /* KSO10 PIN07 */
		&kso11_gp06 /* KSO11 PIN06 */
		&kso12_gp05 /* KSO12 PIN05 */
	>;
	pinctrl-1 = <
		&ksi0_gpio_gp31
		&ksi1_gpio_gp30
		&ksi2_gpio_gp27
		&ksi3_gpio_gp26
		&ksi4_gpio_gp25
		&ksi5_gpio_gp24
		&ksi6_gpio_gp23
		&ksi7_gpio_gp22
		&kso00_gpio_gp21
		&kso01_gpio_gp20
		&kso03_gpio_gp16
		&kso04_gpio_gp15
		&kso05_gpio_gp14
		&kso06_gpio_gp13
		&kso07_gpio_gp12
		&kso08_gpio_gp11
		&kso09_gpio_gp10
		&kso10_gpio_gp07
		&kso11_gpio_gp06
		&kso12_gpio_gp05
	>;
	pinctrl-names = "default", "sleep";
	row-size = <8>;
	col-size = <13>;

	kso-gpio {
		compatible = "cros-ec,col-gpio";
		col-num = <2>;
		col-gpios = <&gpio1 7 GPIO_ACTIVE_HIGH>;
	};

	boot_keys: boot-keys {
		compatible = "cros-ec,boot-keys";
		down-arrow-rc = <KBD_RC(6, 11)>;
		esc-rc = <KBD_RC(1, 1)>;
		left-shift-rc = <KBD_RC(5, 7)>;
		refresh-rc = <KBD_RC(2, 2)>;
	};

	runtime-keys {
		compatible = "cros-ec,runtime-keys";
		left-alt-rc = <KBD_RC(0, 10)>;
		right-alt-rc = <KBD_RC(6, 10)>;
		h-rc = <KBD_RC(1, 6)>;
		r-rc = <KBD_RC(7, 3)>;
	};

	factory-test {
		compatible = "cros-ec,keyboard-factory-test";

		/* 1 nc */
		/* 2 nc */
		/* 3 nc */
		/* 4 nc */
		/* 5 nc */
		/* 6 nc */
		pin7-gpios = <&gpio3 0 GPIO_ACTIVE_HIGH>;
		pin8-gpios = <&gpio2 2 GPIO_ACTIVE_HIGH>;
		pin9-gpios = <&gpio2 3 GPIO_ACTIVE_HIGH>;
		pin10-gpios = <&gpio1 2 GPIO_ACTIVE_HIGH>;
		pin11-gpios = <&gpio2 5 GPIO_ACTIVE_HIGH>;
		pin12-gpios = <&gpio2 4 GPIO_ACTIVE_HIGH>;
		pin13-gpios = <&gpio2 1 GPIO_ACTIVE_HIGH>;
		pin14-gpios = <&gpio2 7 GPIO_ACTIVE_HIGH>;
		pin15-gpios = <&gpio2 6 GPIO_ACTIVE_HIGH>;
		pin16-gpios = <&gpio1 5 GPIO_ACTIVE_HIGH>;
		pin17-gpios = <&gpio2 0 GPIO_ACTIVE_HIGH>;
		pin18-gpios = <&gpio3 1 GPIO_ACTIVE_HIGH>;
		pin19-gpios = <&gpio1 7 GPIO_ACTIVE_HIGH>;
		pin20-gpios = <&gpio1 6 GPIO_ACTIVE_HIGH>;
		/* 21 nc */
		pin22-gpios = <&gpio1 3 GPIO_ACTIVE_HIGH>;
		pin23-gpios = <&gpio1 4 GPIO_ACTIVE_HIGH>;
		/* 24 nc */
		/* 25 nc */
		pin26-gpios = <&gpio0 7 GPIO_ACTIVE_HIGH>;
		pin27-gpios = <&gpio0 6 GPIO_ACTIVE_HIGH>;
		pin28-gpios = <&gpio1 0 GPIO_ACTIVE_HIGH>;
		pin29-gpios = <&gpio1 1 GPIO_ACTIVE_HIGH>;
		pin30-gpios = <&gpio0 5 GPIO_ACTIVE_HIGH>;
	};
};
```

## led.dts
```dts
/* Copyright 2022 The ChromiumOS Authors
 * Use of this source code is governed by a BSD-style license that can be
 * found in the LICENSE file.
 */

/ {
	gpio-led-pins {
		compatible = "cros-ec,gpio-led-pins";

		color_off: color-off {
			led-color = "LED_OFF";
			led-id = "EC_LED_ID_BATTERY_LED";
			led-pins = <&gpio_led_1_l &gpio_led_2_l>;
			led-values = <1 1>;
		};

		color_white: color-white {
			led-color = "LED_WHITE";
			led-id = "EC_LED_ID_BATTERY_LED";
			br-color = "EC_LED_COLOR_WHITE";
			led-pins = <&gpio_led_1_l &gpio_led_2_l>;
			led-values = <1 0>;
		};

		color_amber: color-amber {
			led-color = "LED_AMBER";
			led-id = "EC_LED_ID_BATTERY_LED";
			br-color = "EC_LED_COLOR_AMBER";
			led-pins = <&gpio_led_1_l &gpio_led_2_l>;
			led-values = <0 1>;
		};
	};

	led-colors {
		compatible = "cros-ec,led-policy";

		power-state-charge {
			charge-state = "PWR_STATE_CHARGE";

			color-0 {
				led-color = <&color_amber>;
			};
		};

		power-state-discharge-s0 {
			charge-state = "PWR_STATE_DISCHARGE";
			chipset-state = "POWER_S0";

			color-0 {
				led-color = <&color_off>;
			};
		};

		power-state-discharge-s3 {
			charge-state = "PWR_STATE_DISCHARGE";
			chipset-state = "POWER_S3";

			/* Blue 1 sec, off 3 sec */
			color-0 {
				led-color = <&color_white>;
				period-ms = <1000>;
			};
			color-1 {
				led-color = <&color_off>;
				period-ms = <3000>;
			};
		};

		power-state-discharge-s5 {
			charge-state = "PWR_STATE_DISCHARGE";
			chipset-state = "POWER_S5";

			color-0 {
				led-color = <&color_off>;
			};
		};

		power-state-error {
			charge-state = "PWR_STATE_ERROR";

			/* Red 1 sec, off 1 sec */
			color-0 {
				led-color = <&color_white>;
				period-ms = <1000>;
			};
			color-1 {
				led-color = <&color_off>;
				period-ms = <1000>;
			};
		};

		power-state-near-full {
			charge-state = "PWR_STATE_CHARGE_NEAR_FULL";

			color-0 {
				led-color = <&color_amber>;
			};
		};

		power-state-forced-idle {
			charge-state = "PWR_STATE_FORCED_IDLE";

			/* White 2 sec, Amber 2 sec */
			color-0 {
				led-color = <&color_white>;
				period-ms = <2000>;
			};
			color-1 {
				led-color = <&color_amber>;
				period-ms = <2000>;
			};
		};

		power-state-idle-default {
			charge-state = "PWR_STATE_IDLE";

			color-0 {
				led-color = <&color_white>;
			};
		};
	};
};
```

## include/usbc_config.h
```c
/* Copyright 2023 The ChromiumOS Authors
 * Use of this source code is governed by a BSD-style license that can be
 * found in the LICENSE file.
 */

#ifndef __ZEPHYR_USBC_CONFIG_H
#define __ZEPHYR_USBC_CONFIG_H

#include "usb_mux.h"

/* USB-C ports */
enum usbc_port { USBC_PORT_C0 = 0, USBC_PORT_C1, USBC_PORT_COUNT };
BUILD_ASSERT(USBC_PORT_COUNT == CONFIG_USB_PD_PORT_MAX_COUNT);

void reset_nct38xx_port(int port);

#endif /* __ZEPHYR_USBC_CONFIG_H */
```

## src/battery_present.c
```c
/* Copyright 2023 The ChromiumOS Authors
 * Use of this source code is governed by a BSD-style license that can be
 * found in the LICENSE file.
 */
#include "battery.h"

#include <zephyr/drivers/gpio.h>

/*
 * Physical detection of battery.
 */
enum battery_present battery_hw_present(void)
{
	const struct gpio_dt_spec *batt_pres;

	batt_pres = GPIO_DT_FROM_NODELABEL(gpio_ec_batt_pres_odl);

	/* The GPIO is low when the battery is physically present */
	return gpio_pin_get_dt(batt_pres) ? BP_NO : BP_YES;
}

enum battery_present battery_is_present(void)
{
	enum battery_present batt_pres;

	if (battery_is_cut_off()) {
		return BP_NO;
	}

	/* Get the physical hardware status */
	batt_pres = battery_hw_present();

	return batt_pres;
}
```

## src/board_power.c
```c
/* Copyright 2022 The ChromiumOS Authors
 * Use of this source code is governed by a BSD-style license that can be
 * found in the LICENSE file.
 */

#include "gpio/gpio.h"
#include "gpio_signal.h"
#include "system_boot_time.h"

#include <zephyr/drivers/gpio.h>
#include <zephyr/logging/log.h>

#include <ap_power/ap_power.h>
#include <ap_power/ap_power_events.h>
#include <ap_power/ap_power_interface.h>
#include <ap_power_override_functions.h>
#include <power_signals.h>
#include <x86_power_signals.h>

#ifdef CONFIG_AP_PWRSEQ_DRIVER
#include "ap_power/ap_pwrseq_sm.h"
#endif

LOG_MODULE_DECLARE(ap_pwrseq, LOG_LEVEL_INF);

#if defined(CONFIG_X86_NON_DSX_PWRSEQ_MTL) || \
	defined(CONFIG_TEST_X86_NON_DSX_PWRSEQ_MTL)
#define X86_NON_DSX_MTL_FORCE_SHUTDOWN_TO_MS 50

void board_ap_power_force_shutdown(void)
{
	int timeout_ms = X86_NON_DSX_MTL_FORCE_SHUTDOWN_TO_MS;

	/* Assert PCH_RMSRST to meet tPCH12 */
	power_signal_set(PWR_EC_PCH_RSMRST, 1);

	/* Turn off PRIM load switch. */
	power_signal_set(PWR_EN_PP3300_A, 0);

	/* Wait RSMRST_PWRGD to de-assert. */
	while (power_signal_get(PWR_RSMRST_PWRGD) && (timeout_ms > 0)) {
		k_msleep(1);
		timeout_ms--;
	};

	if (power_signal_get(PWR_RSMRST_PWRGD)) {
		LOG_WRN("RSMRST_PWRGD still asserted!  Assuming G3.");
	}
}

#ifndef CONFIG_AP_PWRSEQ_DRIVER
void board_ap_power_action_g3_s5(void)
{
	/* Turn on the PP3300_PRIM rail. */
	power_signal_set(PWR_EN_PP3300_A, 1);

	update_ap_boot_time(ARAIL);

	if (!power_wait_signals_on_timeout(
		    POWER_SIGNAL_MASK(PWR_RSMRST_PWRGD),
		    AP_PWRSEQ_DT_VALUE(wait_signal_timeout))) {
		ap_power_ev_send_callbacks(AP_POWER_PRE_INIT);
	}
}

bool board_ap_power_check_power_rails_enabled(void)
{
	return power_signal_get(PWR_EN_PP3300_A);
}
#else
int board_ap_power_action_g3_entry(void *data)
{
	board_ap_power_force_shutdown();

	return 0;
}

static int board_ap_power_action_g3_run(void *data)
{
	if (ap_pwrseq_sm_is_event_set(data, AP_PWRSEQ_EVENT_POWER_STARTUP)) {
		/* Turn on the PP3300_PRIM rail. */
		power_signal_set(PWR_EN_PP3300_A, 1);
	}

	if (!power_signal_get(PWR_EN_PP3300_A)) {
		return 1;
	}

	return 0;
}

AP_POWER_APP_STATE_DEFINE(AP_POWER_STATE_G3, board_ap_power_action_g3_entry,
			  board_ap_power_action_g3_run, NULL);
#endif /* CONFIG_AP_PWRSEQ_DRIVER */
#endif /* CONFIG_X86_NON_DSX_PWRSEQ_MTL */
```

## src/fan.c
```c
/* Copyright 2022 The ChromiumOS Authors
 * Use of this source code is governed by a BSD-style license that can be
 * found in the LICENSE file.
 */

#include "cros_cbi.h"
#include "fan.h"
#include "gpio/gpio.h"
#include "hooks.h"

#include <zephyr/devicetree.h>
#include <zephyr/drivers/gpio.h>
#include <zephyr/logging/log.h>

LOG_MODULE_DECLARE(rex, CONFIG_REX_LOG_LEVEL);

/*
 * Rex fan support
 */
static void fan_init(void)
{
	int ret;
	uint32_t val;
	/*
	 * Retrieve the fan config.
	 */
	ret = cros_cbi_get_fw_config(FW_FAN, &val);
	if (ret != 0) {
		LOG_ERR("Error retrieving CBI FW_CONFIG field %d", FW_FAN);
		return;
	}

	if (val == FW_FAN_NOT_PRESENT) {
		fan_set_count(0);
	}
}
DECLARE_HOOK(HOOK_INIT, fan_init, HOOK_PRIO_POST_FIRST);
```

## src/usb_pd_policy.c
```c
/* Copyright 2022 The ChromiumOS Authors
 * Use of this source code is governed by a BSD-style license that can be
 * found in the LICENSE file.
 */

/* Shared USB-C policy for Rex boards */

#include "charge_manager.h"
#include "chipset.h"
#include "common.h"
#include "compile_time_macros.h"
#include "console.h"
#include "ec_commands.h"
#include "ioexpander.h"
#include "power_signals.h"
#include "system.h"
#include "usb_dp_alt_mode.h"
#include "usb_mux.h"
#include "usb_pd.h"
#include "usbc_ppc.h"
#include "util.h"

#include <zephyr/drivers/gpio.h>

int pd_check_vconn_swap(int port)
{
	/* Allow VCONN swaps when gpio_en_z1_rails is enabled. */
	const struct gpio_dt_spec *const en_z1_rails_gpio =
		GPIO_DT_FROM_NODELABEL(gpio_en_z1_rails);

	return gpio_pin_get_dt(en_z1_rails_gpio);
}

void pd_power_supply_reset(int port)
{
	/* Disable VBUS. */
	ppc_vbus_source_enable(port, 0);

	/* Enable discharge if we were previously sourcing 5V */
	if (IS_ENABLED(CONFIG_USB_PD_DISCHARGE))
		pd_set_vbus_discharge(port, 1);

	/* Notify host of power info change. */
	pd_send_host_event(PD_EVENT_POWER_CHANGE);
}

int pd_set_power_supply_ready(int port)
{
	int rv;

	/* Disable charging. */
	rv = ppc_vbus_sink_enable(port, 0);
	if (rv)
		return rv;

	if (IS_ENABLED(CONFIG_USB_PD_DISCHARGE)) {
		pd_set_vbus_discharge(port, 0);
	}

	/* Provide Vbus. */
	rv = ppc_vbus_source_enable(port, 1);
	if (rv) {
		return rv;
	}

	/* Notify host of power info change. */
	pd_send_host_event(PD_EVENT_POWER_CHANGE);

	return EC_SUCCESS;
}

/* Used by Vbus discharge common code with CONFIG_USB_PD_DISCHARGE */
int board_vbus_source_enabled(int port)
{
	return ppc_is_sourcing_vbus(port);
}

/* Used by USB charger task with CONFIG_USB_PD_5V_EN_CUSTOM */
int board_is_sourcing_vbus(int port)
{
	return board_vbus_source_enabled(port);
}

__override bool board_is_dp_uhbr13_5_allowed(int port)
{
	/* From Meteorlake PDG Table 92. DisplayPort* Bit Rates
	 * UHBR 13.5 Not Supported,
	 */
	return false;
}
```

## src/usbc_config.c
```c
/* Copyright 2022 The ChromiumOS Authors
 * Use of this source code is governed by a BSD-style license that can be
 * found in the LICENSE file.
 */

#include "battery_fuel_gauge.h"
#include "charge_manager.h"
#include "charge_ramp.h"
#include "charge_state.h"
#include "charger.h"
#include "driver/charger/isl9241.h"
#include "driver/ppc/nx20p348x.h"
#include "driver/retimer/bb_retimer_public.h"
#include "driver/tcpm/nct38xx.h"
#include "driver/tcpm/tcpci.h"
#include "gpio/gpio_int.h"
#include "hooks.h"
#include "i2c.h"
#include "ioexpander.h"
#include "ppc/syv682x_public.h"
#include "system.h"
#include "task.h"
#include "usb_mux.h"
#include "usbc_config.h"
#include "usbc_ppc.h"

#include <stdbool.h>

#include <zephyr/drivers/espi.h>
#include <zephyr/drivers/gpio.h>

#define CPRINTSUSB(format, args...) cprints(CC_USBCHARGE, format, ##args)
#define CPRINTFUSB(format, args...) cprintf(CC_USBCHARGE, format, ##args)

/* eSPI device */
#define espi_dev DEVICE_DT_GET(DT_CHOSEN(cros_ec_espi))

/*******************************************************************/
/* USB-C Configuration Start */

static void usbc_interrupt_init(void)
{
	/* Only reset TCPC if not sysjump */
	if (!system_jumped_late()) {
		board_reset_pd_mcu();
	}

	/* Enable BC 1.2 interrupts */
	gpio_enable_dt_interrupt(GPIO_INT_FROM_NODELABEL(int_usb_c0_bc12));
	gpio_enable_dt_interrupt(GPIO_INT_FROM_NODELABEL(int_usb_c1_bc12));

	/* Enable SBU fault interrupts */
	gpio_enable_dt_interrupt(GPIO_INT_FROM_NODELABEL(int_usb_c0_sbu_fault));
}
DECLARE_HOOK(HOOK_INIT, usbc_interrupt_init, HOOK_PRIO_POST_I2C);

__override void board_overcurrent_event(int port, int is_overcurrented)
{
	/*
	 * Meteorlake PCH uses Virtual Wire for over current error,
	 * hence Send 'Over Current Virtual Wire' eSPI signal.
	 */
	espi_send_vwire(espi_dev, port + ESPI_VWIRE_SIGNAL_TARGET_GPIO_0,
			!is_overcurrented);
}

void sbu_fault_interrupt(enum gpio_signal signal)
{
	int port = USBC_PORT_C0;

	CPRINTSUSB("C%d: SBU fault", port);
	pd_handle_overcurrent(port);
}

void reset_nct38xx_port(int port)
{
	const struct gpio_dt_spec *reset_gpio_l;
	const struct device *ioex_port0, *ioex_port1;

	/* TODO(b/225189538): Save and restore ioex signals */
	if (port == USBC_PORT_C0) {
		reset_gpio_l = &tcpc_config[0].rst_gpio;
		ioex_port0 = DEVICE_DT_GET(DT_NODELABEL(ioex_c0_port0));
		ioex_port1 = DEVICE_DT_GET(DT_NODELABEL(ioex_c0_port1));
#if DT_NODE_EXISTS(DT_NODELABEL(nct3807_c1))
	} else if (port == USBC_PORT_C1) {
		reset_gpio_l = &tcpc_config[1].rst_gpio;
		ioex_port0 = DEVICE_DT_GET(DT_NODELABEL(ioex_c1_port0));
		ioex_port1 = DEVICE_DT_GET(DT_NODELABEL(ioex_c1_port1));
#endif
	} else {
		/* Invalid port: do nothing */
		return;
	}

	gpio_pin_set_dt(reset_gpio_l, 1);
	k_msleep(NCT38XX_RESET_HOLD_DELAY_MS);
	gpio_pin_set_dt(reset_gpio_l, 0);
	nct38xx_reset_notify(port);
	if (NCT3807_RESET_POST_DELAY_MS != 0) {
		k_msleep(NCT3807_RESET_POST_DELAY_MS);
	}

	/* Re-enable the IO expander pins */
	gpio_reset_port(ioex_port0);
	gpio_reset_port(ioex_port1);
}

void bc12_interrupt(enum gpio_signal signal)
{
	switch (signal) {
	case GPIO_USB_C0_BC12_INT_ODL:
		usb_charger_task_set_event(0, USB_CHG_EVENT_BC12);
		break;
	case GPIO_USB_C1_BC12_INT_ODL:
		usb_charger_task_set_event(1, USB_CHG_EVENT_BC12);
		break;
	default:
		break;
	}
}

static void board_disable_charger_ports(void)
{
	int i;

	CPRINTSUSB("Disabling all charger ports");

	/* Disable all ports. */
	for (i = 0; i < board_get_usb_pd_port_count(); i++) {
		/*
		 * If this port had booted in dead battery mode, go
		 * ahead and reset it so EN_SNK responds properly.
		 */
		if (nct38xx_get_boot_type(i) == NCT38XX_BOOT_DEAD_BATTERY) {
			reset_nct38xx_port(i);
			pd_set_error_recovery(i);
		}

		/*
		 * Do not return early if one fails otherwise we can
		 * get into a boot loop assertion failure.
		 */
		if (ppc_vbus_sink_enable(i, 0)) {
			CPRINTSUSB("Disabling C%d as sink failed.", i);
		}
	}
}

int board_set_active_charge_port(int port)
{
	bool is_valid_port = (port >= 0 && port < CONFIG_USB_PD_PORT_MAX_COUNT);
	int i;

	if (port == CHARGE_PORT_NONE) {
		board_disable_charger_ports();
		return EC_SUCCESS;
	} else if (!is_valid_port) {
		return EC_ERROR_INVAL;
	}

	/*
	 * Check if we can reset any ports in dead battery mode
	 *
	 * The NCT3807 may continue to keep EN_SNK low on the dead battery port
	 * and allow a dangerous level of voltage to pass through to the initial
	 * charge port (see b/183660105).  We must reset the ports if we have
	 * sufficient battery to do so, which will bring EN_SNK back under
	 * normal control.
	 */
	if (port == USBC_PORT_C0 &&
	    nct38xx_get_boot_type(port) == NCT38XX_BOOT_DEAD_BATTERY) {
		/* Handle dead battery boot case */
		CPRINTSUSB("Found dead battery on C0");
		/*
		 * If we have battery, get this port reset ASAP.
		 * This means temporarily rejecting charge manager
		 * sets to it.
		 */
		if (pd_is_battery_capable()) {
			reset_nct38xx_port(port);
			pd_set_error_recovery(port);
		}
	}

	/* Check if the port is sourcing VBUS. */
	if (ppc_is_sourcing_vbus(port)) {
		CPRINTSUSB("Skip enable C%d", port);
		return EC_ERROR_INVAL;
	}

	CPRINTSUSB("New charge port: C%d", port);

	/*
	 * Turn off the other ports' sink path FETs, before enabling the
	 * requested charge port.
	 */
	for (i = 0; i < board_get_usb_pd_port_count(); i++) {
		if (i == port) {
			continue;
		}
		if (ppc_vbus_sink_enable(i, 0)) {
			CPRINTSUSB("C%d: sink path disable failed.", i);
		}
	}

	/* Enable requested charge port. */
	if (ppc_vbus_sink_enable(port, 1)) {
		CPRINTSUSB("C%d: sink path enable failed.", port);
		return EC_ERROR_UNKNOWN;
	}

	return EC_SUCCESS;
}
```
